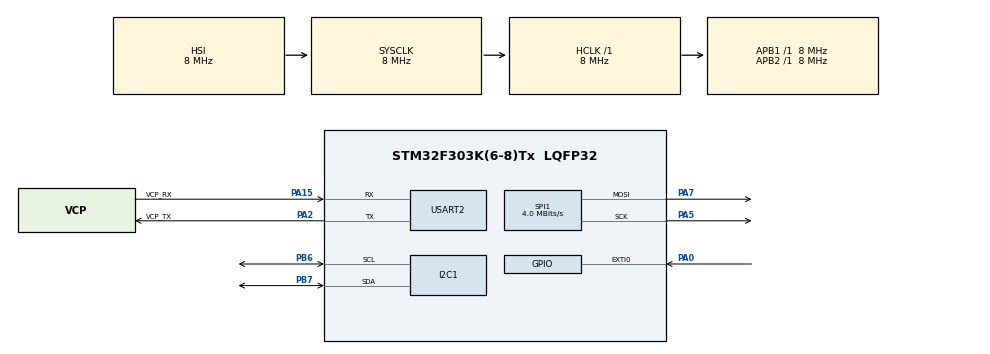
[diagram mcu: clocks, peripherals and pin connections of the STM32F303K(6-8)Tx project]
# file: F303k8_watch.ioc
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Mcu.Family=STM32F3
Mcu.Name=STM32F303K(6-8)Tx
Mcu.Package=LQFP32
NVIC.EXTI0_IRQn=true\:0\:0\:false\:false\:true\:true\:true\:true
NVIC.PriorityGroup=NVIC_PRIORITYGROUP_4
NVIC.TIM6_DAC1_IRQn=true\:0\:0\:false\:false\:true\:true\:true\:true
PA0.GPIO_ModeDefaultEXTI=GPIO_MODE_IT_RISING
PA0.GPIO_PuPd=GPIO_PULLDOWN
PA0.Signal=GPXTI0
PA13.GPIO_Label=SWDIO
PA13.Mode=Serial_Wire
PA13.Signal=SYS_JTMS-SWDIO
PA14.GPIO_Label=SWCLK
PA14.Mode=Serial_Wire
PA14.Signal=SYS_JTCK-SWCLK
PA15.GPIO_Label=VCP_RX
PA15.Mode=Asynchronous
PA15.Signal=USART2_RX
PA2.GPIO_Label=VCP_TX
PA2.Mode=Asynchronous
PA2.Signal=USART2_TX
PA5.Mode=TX_Only_Simplex_Unidirect_Master
PA5.Signal=SPI1_SCK
PA7.Mode=TX_Only_Simplex_Unidirect_Master
PA7.Signal=SPI1_MOSI
PB6.Mode=I2C
PB6.Signal=I2C1_SCL
PB7.Mode=I2C
PB7.Signal=I2C1_SDA
PF0\ /\ OSC_IN.GPIO_Label=MCO
PF0\ /\ OSC_IN.Mode=HSE-External-Clock-Source
PF0\ /\ OSC_IN.Signal=RCC_OSC_IN
ProjectManager.HeapSize=0x200
ProjectManager.StackSize=0x400
ProjectManager.TargetToolchain=STM32CubeIDE
RCC.AHBFreq_Value=8000000
RCC.APB1Freq_Value=8000000
RCC.APB1TimFreq_Value=8000000
RCC.APB2Freq_Value=8000000
RCC.CortexFreq_Value=8000000
RCC.HSE_VALUE=8000000
RCC.HSI_VALUE=8000000
RCC.SYSCLKFreq_VALUE=8000000
SPI1.CalculateBaudRate=4.0 MBits/s
SPI1.DataSize=SPI_DATASIZE_8BIT
SPI1.Direction=SPI_DIRECTION_2LINES
SPI1.Mode=SPI_MODE_MASTER
SPI1.VirtualType=VM_MASTER
TIM6.AutoReloadPreload=TIM_AUTORELOAD_PRELOAD_ENABLE
TIM6.Period=1000
TIM6.Prescaler=40000 - 1
USART2.VirtualMode-Asynchronous=VM_ASYNC
VP_TIM6_VS_ClockSourceINT.Mode=Enable_Timer
board=NUCLEO-F303K8

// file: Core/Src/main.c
/* USER CODE BEGIN Header */
/**
  ******************************************************************************
  * @file           : main.c
  * @brief          : Main program body
  ******************************************************************************
  * @attention
  *
  * Copyright (c) 2024 STMicroelectronics.
  * All rights reserved.
  *
  * This software is licensed under terms that can be found in the LICENSE file
  * in the root directory of this software component.
  * If no LICENSE file comes with this software, it is provided AS-IS.
  *
  ******************************************************************************
  */
/* USER CODE END Header */
#include "main.h"

/* USER CODE BEGIN Includes */
#include <stdio.h>
/* USER CODE END Includes */

/* USER CODE BEGIN PTD */
typedef struct{
	uint8_t seconds;
	uint8_t minutes;
	uint8_t hour;
	uint8_t dayOfWeek;
	uint8_t dayOfMonth;
	uint8_t month;
	uint8_t year;
}TIME;
/* USER CODE END PTD */

/* USER CODE BEGIN PD */
#define MIN_GPIO_CALLBACK 500		// Time (ms) between Button pushes
#define AWAKE_TIME 5				// Time (s) it stays On
#define TIM_6_PERIOD (AWAKE_TIME * 200)

#define DS3231_ADDRESS 0xD0
/* USER CODE END PD */

I2C_HandleTypeDef hi2c1;

SPI_HandleTypeDef hspi1;

TIM_HandleTypeDef htim6;

UART_HandleTypeDef huart2;

/* USER CODE BEGIN PV */
static uint8_t powerMode = 1; // 0 = Sleep, 1 = Running, 3 = General
char message[15];	// UART String
char buffer[30];	// General UART Buffer

TIME time;

uint8_t spiData[5] = {0xf0,0xff,0xff,0xff,0xff};

/* USER CODE END PV */

void SystemClock_Config(void);
static void MX_GPIO_Init(void);
static void MX_USART2_UART_Init(void);
static void MX_I2C1_Init(void);
static void MX_SPI1_Init(void);
static void MX_TIM6_Init(void);
/* USER CODE BEGIN PFP */

static void sleepMode();

static uint8_t decToBcd(int val);
int bcdToDec(uint8_t val);
void setTime(uint8_t seconds, uint8_t minutes, uint8_t hour, uint8_t dayOfWeek, uint8_t dayOfMonth, uint8_t month, uint8_t year);
void getTime(void);
/* USER CODE END PFP */

int main(void)
{

  /* MCU Configuration--------------------------------------------------------*/

  /* Reset of all peripherals, Initializes the Flash interface and the Systick. */
  HAL_Init();

  /* Configure the system clock */
  SystemClock_Config();

  /* Initialize all configured peripherals */
  MX_GPIO_Init();
  MX_USART2_UART_Init();
  MX_I2C1_Init();
  MX_SPI1_Init();
  MX_TIM6_Init();
  /* USER CODE BEGIN 2 */

  HAL_Delay(1000);
  sprintf(message,"Starts\r\n");
  HAL_UART_Transmit(&huart2, (uint8_t *) message, 9, HAL_MAX_DELAY);

  getTime();
  sprintf(buffer, "Date:\t%02d:%02d:%02d\r\n\n", time.month, time.dayOfMonth, time.year);
  HAL_UART_Transmit(&huart2, (uint8_t *) buffer, 30, HAL_MAX_DELAY);

//  HAL_TIM_Base_Start_IT(&htim6);	// Starts Sleep timer
  HAL_SPI_Transmit(&hspi1, spiData, 8, HAL_MAX_DELAY);
  /* USER CODE END 2 */

  /* Infinite loop */
  while (1)
  {

    /* USER CODE BEGIN 3 */
//	  if(powerMode == 0){
//		  sleepMode();
//	  }
//	  getTime();
//	  sprintf(buffer, "Time:\t%02d:%02d:%02d\r\n", time.hour, time.minutes, time.seconds);
//	  HAL_UART_Transmit(&huart2, (uint8_t *) buffer, 30, HAL_MAX_DELAY);
//	  HAL_Delay(1000);

  }
  /* USER CODE END 3 */
}

void SystemClock_Config(void)
{
  RCC_OscInitTypeDef RCC_OscInitStruct = {0};
  RCC_ClkInitTypeDef RCC_ClkInitStruct = {0};
  RCC_PeriphCLKInitTypeDef PeriphClkInit = {0};

  /** Initializes the RCC Oscillators according to the specified parameters
  * in the RCC_OscInitTypeDef structure.
  */
  RCC_OscInitStruct.OscillatorType = RCC_OSCILLATORTYPE_HSI;
  RCC_OscInitStruct.HSIState = RCC_HSI_ON;
  RCC_OscInitStruct.HSICalibrationValue = RCC_HSICALIBRATION_DEFAULT;
  RCC_OscInitStruct.PLL.PLLState = RCC_PLL_NONE;
  if (HAL_RCC_OscConfig(&RCC_OscInitStruct) != HAL_OK)
  {
    Error_Handler();
  }

  /** Initializes the CPU, AHB and APB buses clocks
  */
  RCC_ClkInitStruct.ClockType = RCC_CLOCKTYPE_HCLK|RCC_CLOCKTYPE_SYSCLK
                              |RCC_CLOCKTYPE_PCLK1|RCC_CLOCKTYPE_PCLK2;
  RCC_ClkInitStruct.SYSCLKSource = RCC_SYSCLKSOURCE_HSI;
  RCC_ClkInitStruct.AHBCLKDivider = RCC_SYSCLK_DIV1;
  RCC_ClkInitStruct.APB1CLKDivider = RCC_HCLK_DIV1;
  RCC_ClkInitStruct.APB2CLKDivider = RCC_HCLK_DIV1;

  if (HAL_RCC_ClockConfig(&RCC_ClkInitStruct, FLASH_LATENCY_0) != HAL_OK)
  {
    Error_Handler();
  }
  PeriphClkInit.PeriphClockSelection = RCC_PERIPHCLK_I2C1;
  PeriphClkInit.I2c1ClockSelection = RCC_I2C1CLKSOURCE_HSI;
  if (HAL_RCCEx_PeriphCLKConfig(&PeriphClkInit) != HAL_OK)
  {
    Error_Handler();
  }
}

static void MX_I2C1_Init(void)
{

  hi2c1.Instance = I2C1;
  hi2c1.Init.Timing = 0x2000090E;
  hi2c1.Init.OwnAddress1 = 0;
  hi2c1.Init.AddressingMode = I2C_ADDRESSINGMODE_7BIT;
  hi2c1.Init.DualAddressMode = I2C_DUALADDRESS_DISABLE;
  hi2c1.Init.OwnAddress2 = 0;
  hi2c1.Init.OwnAddress2Masks = I2C_OA2_NOMASK;
  hi2c1.Init.GeneralCallMode = I2C_GENERALCALL_DISABLE;
  hi2c1.Init.NoStretchMode = I2C_NOSTRETCH_DISABLE;
  if (HAL_I2C_Init(&hi2c1) != HAL_OK)
  {
    Error_Handler();
  }

  /** Configure Analogue filter
  */
  if (HAL_I2CEx_ConfigAnalogFilter(&hi2c1, I2C_ANALOGFILTER_ENABLE) != HAL_OK)
  {
    Error_Handler();
  }

  /** Configure Digital filter
  */
  if (HAL_I2CEx_ConfigDigitalFilter(&hi2c1, 0) != HAL_OK)
  {
    Error_Handler();
  }

}

static void MX_SPI1_Init(void)
{

  /* SPI1 parameter configuration*/
  hspi1.Instance = SPI1;
  hspi1.Init.Mode = SPI_MODE_MASTER;
  hspi1.Init.Direction = SPI_DIRECTION_2LINES;
  hspi1.Init.DataSize = SPI_DATASIZE_8BIT;
  hspi1.Init.CLKPolarity = SPI_POLARITY_LOW;
  hspi1.Init.CLKPhase = SPI_PHASE_1EDGE;
  hspi1.Init.NSS = SPI_NSS_SOFT;
  hspi1.Init.BaudRatePrescaler = SPI_BAUDRATEPRESCALER_2;
  hspi1.Init.FirstBit = SPI_FIRSTBIT_MSB;
  hspi1.Init.TIMode = SPI_TIMODE_DISABLE;
  hspi1.Init.CRCCalculation = SPI_CRCCALCULATION_DISABLE;
  hspi1.Init.CRCPolynomial = 7;
  hspi1.Init.CRCLength = SPI_CRC_LENGTH_DATASIZE;
  hspi1.Init.NSSPMode = SPI_NSS_PULSE_ENABLE;
  if (HAL_SPI_Init(&hspi1) != HAL_OK)
  {
    Error_Handler();
  }

}

static void MX_TIM6_Init(void)
{

  TIM_MasterConfigTypeDef sMasterConfig = {0};

  htim6.Instance = TIM6;
  htim6.Init.Prescaler = 40000 - 1;
  htim6.Init.CounterMode = TIM_COUNTERMODE_UP;
  htim6.Init.Period = 1000;
  htim6.Init.AutoReloadPreload = TIM_AUTORELOAD_PRELOAD_ENABLE;
  if (HAL_TIM_Base_Init(&htim6) != HAL_OK)
  {
    Error_Handler();
  }
  sMasterConfig.MasterOutputTrigger = TIM_TRGO_RESET;
  sMasterConfig.MasterSlaveMode = TIM_MASTERSLAVEMODE_DISABLE;
  if (HAL_TIMEx_MasterConfigSynchronization(&htim6, &sMasterConfig) != HAL_OK)
  {
    Error_Handler();
  }

}

static void MX_USART2_UART_Init(void)
{

  huart2.Instance = USART2;
  huart2.Init.BaudRate = 38400;
  huart2.Init.WordLength = UART_WORDLENGTH_8B;
  huart2.Init.StopBits = UART_STOPBITS_1;
  huart2.Init.Parity = UART_PARITY_NONE;
  huart2.Init.Mode = UART_MODE_TX_RX;
  huart2.Init.HwFlowCtl = UART_HWCONTROL_NONE;
  huart2.Init.OverSampling = UART_OVERSAMPLING_16;
  huart2.Init.OneBitSampling = UART_ONE_BIT_SAMPLE_DISABLE;
  huart2.AdvancedInit.AdvFeatureInit = UART_ADVFEATURE_NO_INIT;
  if (HAL_UART_Init(&huart2) != HAL_OK)
  {
    Error_Handler();
  }

}

static void MX_GPIO_Init(void)
{
  GPIO_InitTypeDef GPIO_InitStruct = {0};

  /* GPIO Ports Clock Enable */
  __HAL_RCC_GPIOF_CLK_ENABLE();
  __HAL_RCC_GPIOA_CLK_ENABLE();
  __HAL_RCC_GPIOB_CLK_ENABLE();

  /*Configure GPIO pin : PA0 */
  GPIO_InitStruct.Pin = GPIO_PIN_0;
  GPIO_InitStruct.Mode = GPIO_MODE_IT_RISING;
  GPIO_InitStruct.Pull = GPIO_PULLDOWN;
  HAL_GPIO_Init(GPIOA, &GPIO_InitStruct);

  /* EXTI interrupt init*/
  HAL_NVIC_SetPriority(EXTI0_IRQn, 0, 0);
  HAL_NVIC_EnableIRQ(EXTI0_IRQn);

}

/* USER CODE BEGIN 4 */
void HAL_GPIO_EXTI_Callback(uint16_t GPIO_Pin){

	if(GPIO_Pin == GPIO_PIN_0){
		if(powerMode == 0){	// Sleep Mode
			HAL_ResumeTick();
			powerMode = 1;	// Turn On

			sprintf(message,"Awaken!\r\n");
			HAL_UART_Transmit(&huart2, (uint8_t *) message, 9, HAL_MAX_DELAY);

			__HAL_TIM_SET_COUNTER(&htim6, 0);	// Resets Timer
			HAL_TIM_Base_Start_IT(&htim6);	// Timer counts down to sleep again
		}else if(powerMode == 1 ){
			powerMode = 0;
		}else if(powerMode == 3){
			setTime(0, 10, 18, 7, 17, 2, 24);
			sprintf(message,"Time Set\r\n");
			HAL_UART_Transmit(&huart2, (uint8_t *) message, 10, HAL_MAX_DELAY);
		}

	}
}
void HAL_TIM_PeriodElapsedCallback(TIM_HandleTypeDef *htim){
	if(htim == &htim6){
		powerMode = 0;	// Sleeps
//		sprintf(message,"Timer Sleep!\r\n");
//		HAL_UART_Transmit(&huart2, (uint8_t *) message, 14, HAL_MAX_DELAY);

	}
}
void sleepMode(){
	powerMode = 0;	// Sleeps
	//HAL_TIM_Base_Stop_IT(&htim6);	// Stops Sleep Timer

	sprintf(message,"Sleep!\r\n");
	HAL_UART_Transmit(&huart2, (uint8_t *) message, 9, HAL_MAX_DELAY);

	HAL_TIM_Base_Stop_IT(&htim6);

	HAL_SuspendTick();
	HAL_PWR_EnterSLEEPMode(PWR_MAINREGULATOR_ON, PWR_SLEEPENTRY_WFI);

}
uint8_t decToBcd(int val){
	return (uint8_t)((val/10*16) + (val%10));
}
int bcdToDec(uint8_t val){
	return (int)((val/16*10) + (val%16));
}
void setTime(uint8_t seconds, uint8_t minutes, uint8_t hour, uint8_t dayOfWeek, uint8_t dayOfMonth, uint8_t month, uint8_t year){
	uint8_t timeArr[7];
	timeArr[0] = decToBcd(seconds);
	timeArr[1] = decToBcd(minutes);
	timeArr[2] = decToBcd(hour);
	timeArr[3] = decToBcd(dayOfWeek);
	timeArr[4] = decToBcd(dayOfMonth);
	timeArr[5] = decToBcd(month);
	timeArr[6] = decToBcd(year);

	HAL_I2C_Mem_Write(&hi2c1, DS3231_ADDRESS, 0x00, 1, timeArr, 7, HAL_MAX_DELAY);
}
void getTime(void){
	uint8_t timeArr[7];
	HAL_I2C_Mem_Read(&hi2c1, DS3231_ADDRESS, 0x00, 1, timeArr, 7, HAL_MAX_DELAY);
	time.seconds = bcdToDec(timeArr[0]);
	time.minutes = bcdToDec(timeArr[1]);
	time.hour = bcdToDec(timeArr[2]);
	time.dayOfWeek = bcdToDec(timeArr[3]);
	time.dayOfMonth = bcdToDec(timeArr[4]);
	time.month = bcdToDec(timeArr[5]);
	time.year = bcdToDec(timeArr[6]);
}
/* USER CODE END 4 */

void Error_Handler(void)
{
  __disable_irq();
  while (1)
  {
  }
}
